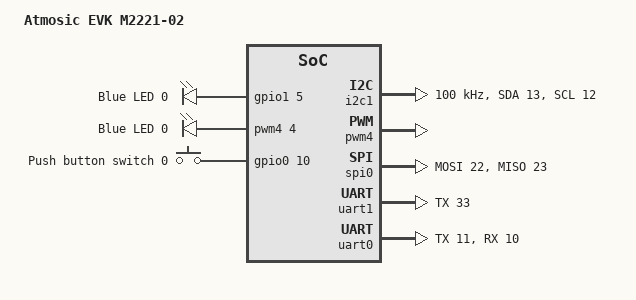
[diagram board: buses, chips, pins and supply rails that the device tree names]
/*
 * Copyright (c) 2023-2024 Atmosic
 *
 * SPDX-License-Identifier: Apache-2.0
 */

/dts-v1/;
#include <arm/atmosic/ATMx2xx-x1x.dtsi>
#include <dt-bindings/gpio/gpio.h>

/ {
	model = "Atmosic EVK M2221-02";
	compatible = "atmosic,ATMEVK-M2221-02";

	chosen {
		zephyr,console = &uart1;
		zephyr,shell-uart = &uart1;
		zephyr,uart-mcumgr = &uart0;
		zephyr,bt-mon-uart = &uart1;
		zephyr,bt-c2h-uart = &uart0;
		zephyr,sram = &sram0;
		zephyr,flash-controller = &flash_controller;
		zephyr,flash = &flash0;
		zephyr,code-partition = &slot0_partition;
		zephyr,entropy = &trng;
	};

	leds {
		compatible = "gpio-leds";
		led0: led_0 {
			/* Install JP9 */
			gpios = <&gpio1 5 GPIO_ACTIVE_HIGH>;
			label = "Blue LED 0";
		};
	};

        pwmleds {
                compatible = "pwm-leds";
                pwm_led0: pwm_led_0 {
                        pwms = <&pwm4 4 PWM_MSEC(1) PWM_POLARITY_NORMAL>;
			label = "Blue LED 0";
                };
        };

	buttons {
		compatible = "gpio-keys";
		button0: button_0 {
			gpios = <&gpio0 10 GPIO_ACTIVE_HIGH>;
			label = "Push button switch 0";
		};
	};

	/* These aliases are provided for compatibility with samples */
	aliases {
		i2c-1 = &i2c1;
		kscan0 = &kscan;
		led0 = &led0;
		pwm-0 = &pwm4;
		pwm-led0 = &pwm_led0;
		sw0 = &button0;
	};
};

&i2c1 {
        sda-pin = <13>;
        scl-pin = <12>;
	clock-frequency = <I2C_BITRATE_STANDARD>;
};

&pwm4 {
	pin = <25>;
	status = "okay";
};

&spi0 {
        clk-pin = <20>;
        cs-pin = <21>;
        mosi-pin = <22>;
        miso-pin = <23>;
};

&adc {
    ch-cell = <0>;
    ch-batt = <0>;
};

&uart1 {
	tx-pin = <33>;
};

&uart0 {
	rx-pin = <10>;
	tx-pin = <11>;
	cts-pin = <12>;
	rts-pin = <13>;
};
